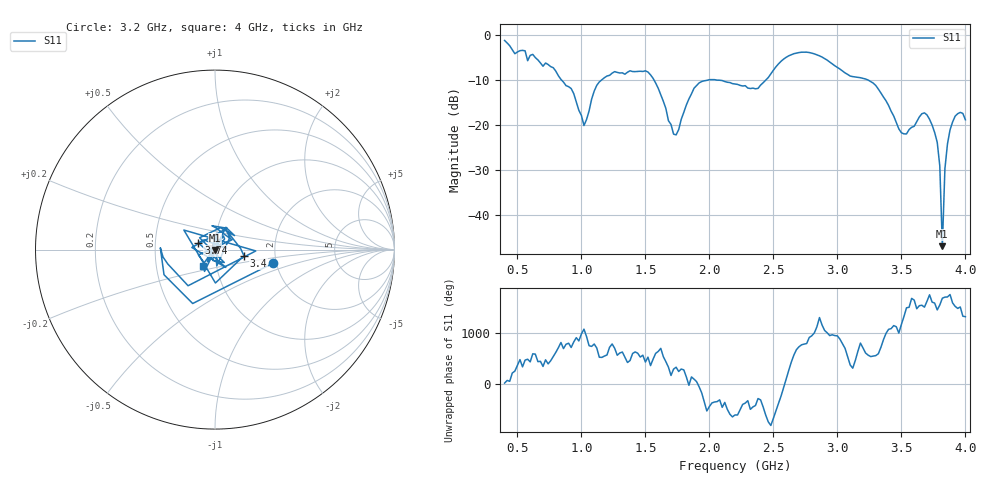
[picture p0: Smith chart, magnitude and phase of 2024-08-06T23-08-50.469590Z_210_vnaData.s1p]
!Created with skrf (http://scikit-rf.org).
# Hz S RI R 50.0
!freq ReS11 ImS11
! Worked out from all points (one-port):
!   181 points, 400 MHz to 4 GHz, reference 50 ohm
!   lowest |S11| = -46.9 dB at 3.82 GHz (marker M1), VSWR 1.01, Z = 49.7 - j0.367 ohm
!   |S11| at or under -10 dB: 1.568 GHz to 1.988 GHz (420.1 MHz wide, 23.6 % of centre); 2.058 GHz to 2.441 GHz (382.9 MHz wide, 17 % of centre); 3.241 GHz to end of sweep (the widest 3 of 4)
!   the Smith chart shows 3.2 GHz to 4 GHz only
!   S11 on the Smith chart (normalised r, x): 3.2 GHz: 1.91, -0.33; 3.4 GHz: 1.38, -0.10; 3.74 GHz: 0.83, +0.06; 4 GHz: 0.86, -0.16
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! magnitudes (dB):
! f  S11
! 400 MHz  -1.2
! 860 MHz  -10.4
! 940 MHz  -13.0
! 1.02 GHz  -20.1
! 1.12 GHz  -11.2
! 1.3 GHz  -8.4
! 1.52 GHz  -8.2
! 1.6 GHz  -11.8
! 1.72 GHz  -22.0
! 1.76 GHz  -21.0
! 1.92 GHz  -10.6
! 2.2 GHz  -10.9
! 2.38 GHz  -11.8
! 2.66 GHz  -4.1
! 3.1 GHz  -9.1
! 3.2 GHz  -9.6
! 3.4 GHz  -15.6
! 3.5 GHz  -21.7
! 3.56 GHz  -21.0
! 3.68 GHz  -17.3
! 3.74 GHz  -20.0
! 3.78 GHz  -23.8
! 3.8 GHz  -29.0
! 3.82 GHz  -46.9
! 3.84 GHz  -29.7
! 3.86 GHz  -24.2
! 3.92 GHz  -18.0
! 4 GHz  -18.8
